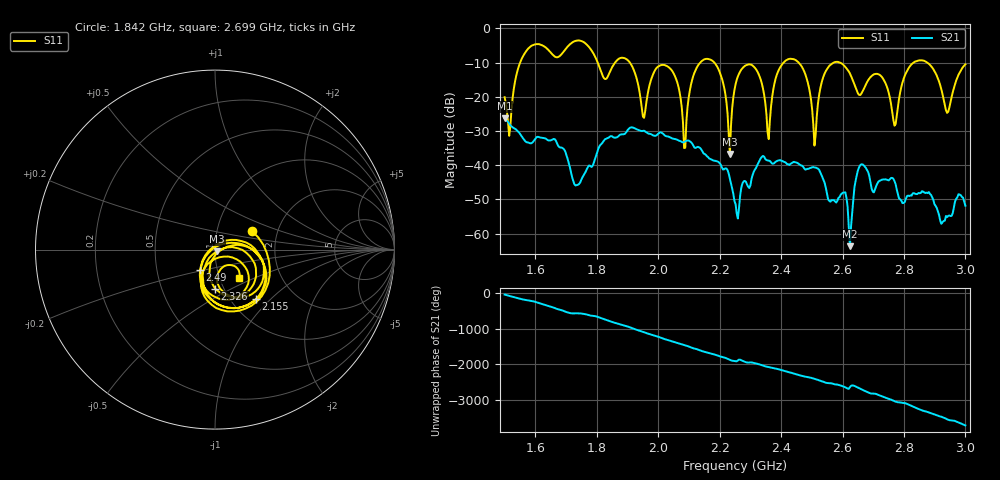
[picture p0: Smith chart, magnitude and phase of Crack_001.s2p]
# HZ S RI R 50
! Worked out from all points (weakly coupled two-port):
!   404 points, 1.5 GHz to 3 GHz, reference 50 ohm
!   highest |S21| = -26.31 dB at 1.5 GHz (marker M1); lowest = -63.7 dB at 2.624 GHz (marker M2)
!   lowest |S11| = -36.7 dB at 2.233 GHz (marker M3), VSWR 1.03, Z = 51.2 - j0.891 ohm
!   |S11| at or under -10 dB: 1.908 GHz to 2.137 GHz (229 MHz wide, 11.3 % of centre); 2.183 GHz to 2.408 GHz (225.3 MHz wide, 9.82 % of centre); 2.591 GHz to 2.831 GHz (240 MHz wide, 8.85 % of centre) (the widest 3 of 7)
!   S12 and S22 are empty: the file has one direction only
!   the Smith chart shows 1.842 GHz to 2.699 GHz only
!   S11 on the Smith chart (normalised r, x): 1.842 GHz: 1.47, +0.32; 2.155 GHz: 1.30, -0.82; 2.326 GHz: 0.91, -0.42; 2.49 GHz: 0.83, -0.19; 2.699 GHz: 1.23, -0.41
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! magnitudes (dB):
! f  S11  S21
! 1.5 GHz  -20.1  -26.3
! 1.586 GHz  -5.2  -33.6
! 1.753 GHz  -3.8  -43.6
! 1.842 GHz  -12.8  -31.7
! 1.954 GHz  -26.1  -29.9
! 2.002 GHz  -11.0  -30.6
! 2.084 GHz  -35.0  -33.2
! 2.155 GHz  -8.9  -37.0
! 2.233 GHz  -36.7  -43.9
! 2.252 GHz  -16.3  -51.4
! 2.326 GHz  -13.2  -39.3
! 2.36 GHz  -32.4  -38.7
! 2.412 GHz  -9.7  -39.1
! 2.49 GHz  -17.0  -41.0
! 2.501 GHz  -23.8  -40.6
! 2.624 GHz  -13.2  -63.7
! 2.658 GHz  -19.5  -40.0
! 2.699 GHz  -13.6  -47.7
! 2.751 GHz  -18.9  -44.4
! 2.862 GHz  -9.4  -47.7
! 2.94 GHz  -24.7  -55.2
! 3 GHz  -10.5  -51.9
